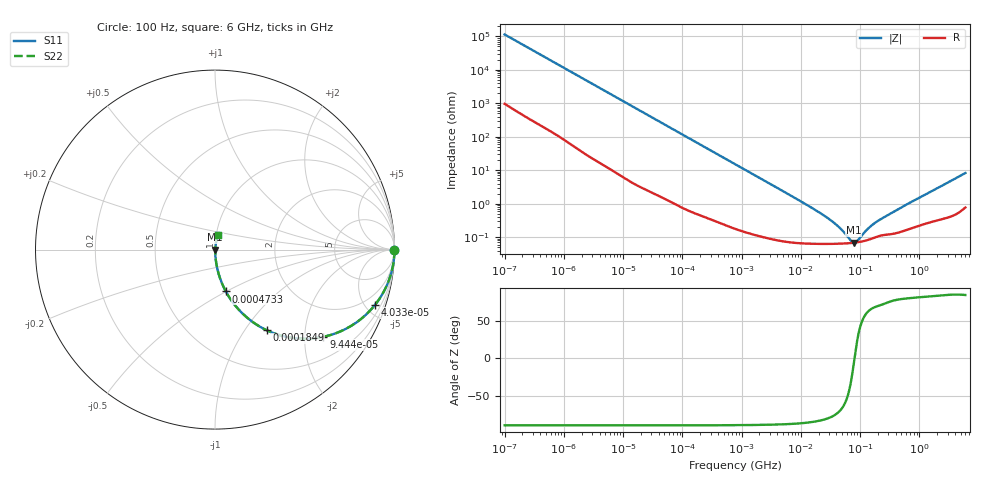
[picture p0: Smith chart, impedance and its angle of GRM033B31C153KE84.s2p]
!Murata Part Number: GRM033B31C153KE84
!These Parameters are Measured in Series Mode Connection
!Data Generated on Mar 30, 2021
!  o--ll--o
!Port1  Port2
!  o------o
!Operation Temp=25[degC], DC Bias Voltage=0[V]
!Freq. Start=100[Hz] Stop=6[GHz] 401[Steps]
# Hz S RI R 50
!Freq.(Hz) S11(Real) S11(Imag) S21(Real) S21(Imag) S12(Real) S12(Imag) S22(Real) S22(Imag)
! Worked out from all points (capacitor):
!   401 points, 100 Hz to 6 GHz, reference 50 ohm
!   read as one part in series: C = 14 nF near 109 Hz
!   lowest |Z| = 68.8 mohm at 77.97 MHz (marker M1)
!   series resonance near 80.59 MHz, so ESL is about 280 pH
!   S11 on the Smith chart (normalised r, x): 100 Hz: open; 40.34 kHz: 1.03, -5.77; 94.44 kHz: 1.02, -2.47; 184.9 kHz: 1.01, -1.27; 473.3 kHz: 1.00, -0.50; 6 GHz: 1.02, +0.16
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100  1 -0.00088  8.2e-06 0.00088  8.2e-06 0.00088  1 -0.00088
2008  0.9996 -0.0174  0.00041 0.0174  0.00041 0.0174  0.9996 -0.0174
11514  0.9897 -0.0982  0.0103 0.0982  0.0103 0.0982  0.9897 -0.0982
23569  0.9595 -0.1944  0.0405 0.1944  0.0405 0.1944  0.9595 -0.1944
40335  0.8914 -0.3082  0.1086 0.3082  0.1086 0.3082  0.8914 -0.3082
60352  0.7872 -0.4062  0.2128 0.4062  0.2128 0.4062  0.7872 -0.4062
94437  0.604 -0.4859  0.396 0.4859  0.396 0.4859  0.604 -0.4859
184852  0.2876 -0.4489  0.7124 0.4489  0.7124 0.4489  0.2876 -0.4489
289253  0.1433 -0.3461  0.8567 0.3461  0.8567 0.3461  0.1433 -0.3461
473344  0.0602 -0.2329  0.9398 0.2329  0.9398 0.2329  0.0602 -0.2329
774597  0.0243 -0.1482  0.9757 0.1482  0.9757 0.1482  0.0243 -0.1482
2481164  0.00324 -0.0476  0.9968 0.0476  0.9968 0.0476  0.00324 -0.0476
1.555665e7  0.000689 -0.00738  0.9993 0.00738  0.9993 0.00738  0.000689 -0.00738
3.64232e7  0.000639 -0.0026  0.9994 0.0026  0.9994 0.0026  0.000639 -0.0026
4.983056e7  0.000645 -0.00148  0.9994 0.00148  0.9994 0.00148  0.000645 -0.00148
6.817316e7  0.000666 -0.000495  0.9993 0.000495  0.9993 0.000495  0.000666 -0.000495
7.797396e7  0.000681 -9.65e-05  0.9993 9.65e-05  0.9993 9.65e-05  0.000681 -9.65e-05
8.918374e7  0.000702 0.000299  0.9993 -0.000299  0.9993 -0.000299  0.000702 0.000299
1.275994e8  0.000802 0.00138  0.9992 -0.00138  0.9992 -0.00138  0.000802 0.00138
1.669249e8  0.000941 0.00226  0.9991 -0.00226  0.9991 -0.00226  0.000941 0.00226
3.124326e8  0.00123 0.00469  0.9988 -0.00469  0.9988 -0.00469  0.00123 0.00469
6e9  0.0142 0.0804  0.9858 -0.0804  0.9858 -0.0804  0.0142 0.0804
